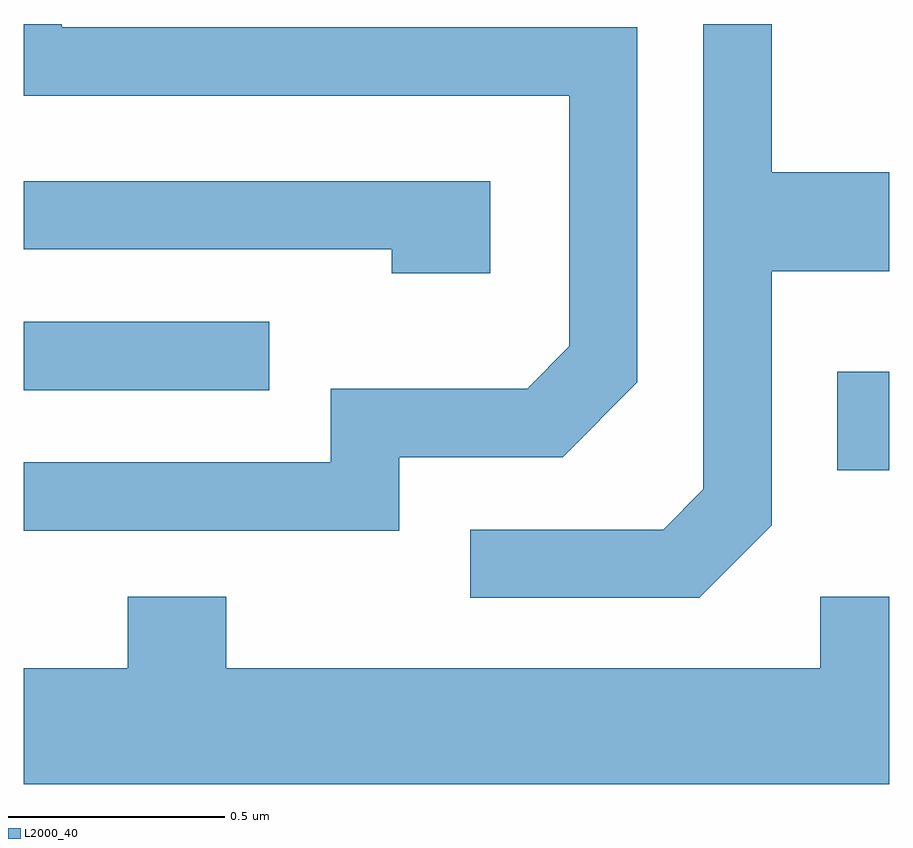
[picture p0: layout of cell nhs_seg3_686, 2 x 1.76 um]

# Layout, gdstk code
import gdstk
lib = gdstk.Library(unit=1e-6, precision=1e-09)
def R(c, l, rs):  # rectangles x0, y0, x1, y1
    for r in rs: c.add(gdstk.rectangle(r[:2], r[2:], *l))
def P(c, l, *ps):  # polygons
    for p in ps: c.add(gdstk.Polygon(p, *l))
L2000_40 = (2000, 40)

nhs_seg3_686 = lib.new_cell('nhs_seg3_686')
R(nhs_seg3_686, L2000_40, [(192.491,1117.861,192.611,1118.089), (190.611,1118.046,191.178,1118.204)])
P(nhs_seg3_686, L2000_40, [(192.339,1117.734),(192.339,1118.321),(192.611,1118.321),(192.611,1118.549),(192.339,1118.549),(192.339,1118.892),(192.181,1118.892),(192.181,1117.817),(192.089,1117.724),(191.643,1117.724),(191.643,1117.566),(192.172,1117.566)],
  [(191.479,1117.891),(191.857,1117.891),(192.029,1118.064),(192.029,1118.884),(190.699,1118.884),(190.699,1118.892),(190.611,1118.892),(190.611,1118.726),(191.871,1118.726),(191.871,1118.147),(191.774,1118.049),(191.321,1118.049),(191.321,1117.879),(190.611,1117.879),(190.611,1117.721),(191.479,1117.721)],
  [(191.689,1118.529),(190.611,1118.529),(190.611,1118.371),(191.461,1118.371),(191.461,1118.316),(191.689,1118.316)],
  [(192.611,1117.569),(192.451,1117.569),(192.451,1117.404),(191.079,1117.404),(191.079,1117.569),(190.851,1117.569),(190.851,1117.404),(190.611,1117.404),(190.611,1117.136),(192.611,1117.136)])

lib.write_gds('nhs_seg3_686.gds')
